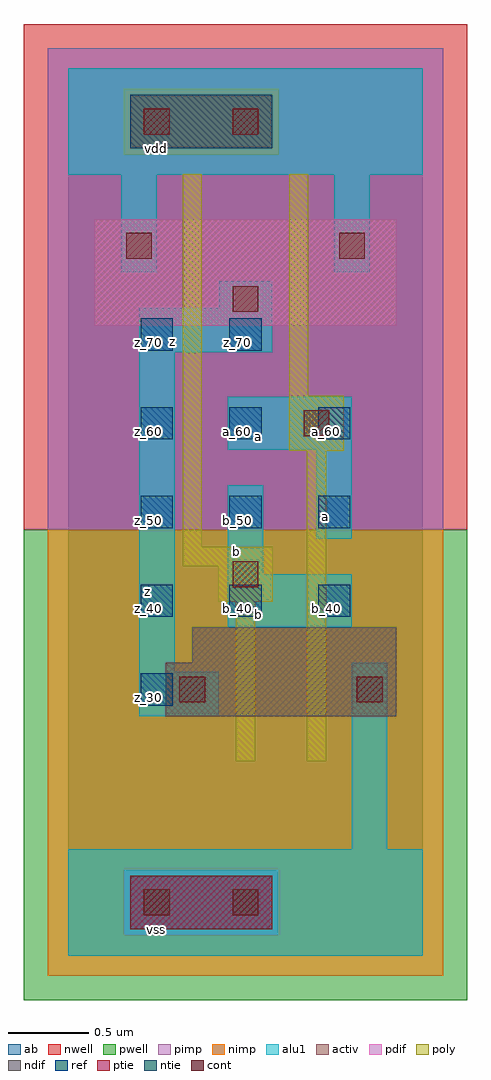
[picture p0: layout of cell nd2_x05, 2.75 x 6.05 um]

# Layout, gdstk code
import gdstk
lib = gdstk.Library(unit=1e-6, precision=2.5e-09)
def R(c, l, rs):  # rectangles x0, y0, x1, y1
    for r in rs: c.add(gdstk.rectangle(r[:2], r[2:], *l))
def A(c, l, x, y, w, h, nx, ny, dx, dy):  # array of equal rectangles
    R(c, l, [(x+i*dx, y+j*dy, x+i*dx+w, y+j*dy+h) for i in range(nx) for j in range(ny)])
ndif = (3, 0)
pdif = (4, 0)
ntie = (5, 0)
ptie = (6, 0)
ref = (24, 0)
cont = (25, 0)
pwell = (41, 0)
nwell = (42, 0)
activ = (43, 0)
pimp = (44, 0)
nimp = (45, 0)
poly = (46, 0)
alu1 = (49, 0)
ab = (63, 0)

nd2_x05 = lib.new_cell('nd2_x05')
R(nd2_x05, ndif, [(0.605,1.485,2.035,1.815), (0.77,1.815,2.035,2.035)])
R(nd2_x05, pdif, [(0.165,3.905,2.035,4.565)])
R(nd2_x05, ntie, [(0.385,5.005,1.265,5.335)])
R(nd2_x05, ptie, [(0.385,0.165,1.265,0.495)])
A(nd2_x05, ref, 0.45, 2.1, 0.2, 0.2, 3, 3, 0.55, 0.55)
R(nd2_x05, ref, [(0.45,1.55,0.65,1.75), (0.45,3.75,0.65,3.95), (1,3.75,1.2,3.95)])
R(nd2_x05, cont, [(0.47,0.25,0.63,0.41), (1.02,0.25,1.18,0.41), (0.69,1.57,0.85,1.73), (1.79,1.57,1.95,1.73), (1.02,2.285,1.18,2.445), (1.46,3.22,1.62,3.38), (1.02,3.99,1.18,4.15), (0.36,4.32,0.52,4.48), (1.68,4.32,1.84,4.48), (0.47,5.09,0.63,5.25), (1.02,5.09,1.18,5.25)])
R(nd2_x05, pwell, [(-0.275,-0.275,2.475,2.64)])
R(nd2_x05, nwell, [(-0.275,2.64,2.475,5.775)])
R(nd2_x05, activ, [(0.385,0.165,1.265,0.495), (0.605,1.485,2.035,1.815), (0.77,1.815,2.035,2.035), (0.165,3.905,2.035,4.565), (0.385,5.005,1.265,5.335)])
R(nd2_x05, pimp, [(0.345,0.125,1.305,0.535), (-0.125,2.64,2.325,4.965), (-0.125,4.965,0.345,5.375), (1.305,4.965,2.325,5.375), (-0.125,5.375,2.325,5.625)])
R(nd2_x05, nimp, [(-0.125,-0.125,2.325,0.125), (-0.125,0.125,0.345,0.535), (1.305,0.125,2.325,0.535), (-0.125,0.535,2.325,2.64), (0.345,4.965,1.305,5.375)])
R(nd2_x05, poly, [(1.04,1.205,1.16,2.195), (1.48,1.205,1.6,3.13), (0.93,2.195,1.27,2.415), (0.71,2.415,1.27,2.535), (0.71,2.535,0.83,4.845), (1.37,3.13,1.71,3.47), (1.37,3.47,1.49,4.845)])
R(nd2_x05, alu1, [(0,0,2.2,0.66), (1.76,0.66,1.98,1.815), (0.44,1.485,0.935,1.76), (0.44,1.76,0.66,3.74), (0.99,2.035,1.76,2.365), (0.99,2.365,1.21,2.915), (1.54,2.585,1.76,3.135), (0.99,3.135,1.76,3.465), (0.44,3.74,1.265,4.015), (0.935,4.015,1.265,4.18), (0.33,4.235,0.55,4.84), (1.65,4.235,1.87,4.84), (0,4.84,2.2,5.5)])
R(nd2_x05, ab, [(0,0,2.2,5.5)])
nd2_x05.add(gdstk.Label('vss', (0.55,0.165), layer=49, texttype=0))
nd2_x05.add(gdstk.Label('b', (1.1825,2.1175), layer=49, texttype=0))
nd2_x05.add(gdstk.Label('a', (1.595,2.7225), layer=49, texttype=0))
nd2_x05.add(gdstk.Label('b', (1.045,2.5025), layer=49, texttype=0))
nd2_x05.add(gdstk.Label('a', (1.1825,3.2175), layer=49, texttype=0))
nd2_x05.add(gdstk.Label('z', (0.495,2.255), layer=49, texttype=0))
nd2_x05.add(gdstk.Label('z', (0.645,3.8075), layer=49, texttype=0))
nd2_x05.add(gdstk.Label('vdd', (0.55,5.005), layer=49, texttype=0))
nd2_x05.add(gdstk.Label('z_70', (0.5,3.8), layer=24, texttype=0))
nd2_x05.add(gdstk.Label('b_40', (1.05,2.15), layer=24, texttype=0))
nd2_x05.add(gdstk.Label('a_60', (1.6,3.25), layer=24, texttype=0))
nd2_x05.add(gdstk.Label('b_40', (1.6,2.15), layer=24, texttype=0))
nd2_x05.add(gdstk.Label('z_30', (0.5,1.6), layer=24, texttype=0))
nd2_x05.add(gdstk.Label('z_40', (0.5,2.15), layer=24, texttype=0))
nd2_x05.add(gdstk.Label('z_50', (0.5,2.7), layer=24, texttype=0))
nd2_x05.add(gdstk.Label('z_60', (0.5,3.25), layer=24, texttype=0))
nd2_x05.add(gdstk.Label('z_70', (1.05,3.8), layer=24, texttype=0))
nd2_x05.add(gdstk.Label('b_50', (1.05,2.7), layer=24, texttype=0))
nd2_x05.add(gdstk.Label('a_50', (1.6,2.7), layer=24, texttype=0))
nd2_x05.add(gdstk.Label('a_60', (1.05,3.25), layer=24, texttype=0))

lib.write_gds('nd2_x05.gds')
